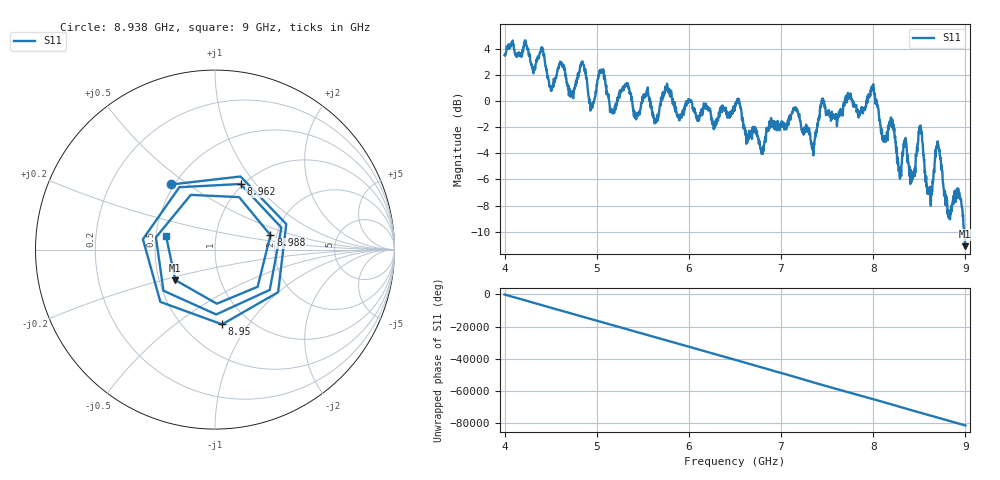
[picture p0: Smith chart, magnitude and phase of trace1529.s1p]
! Created with skrf 1.8.0 (http://scikit-rf.org).
# Hz S RI R 50.0
!freq ReS11 ImS11
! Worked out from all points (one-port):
!   1601 points, 4 GHz to 9 GHz, reference 50 ohm
!   lowest |S11| = -11.1 dB at 8.997 GHz (marker M1), VSWR 1.77, Z = 30.3 - j11.2 ohm
!   |S11| at or under -10 dB: 8.990189 GHz to end of sweep
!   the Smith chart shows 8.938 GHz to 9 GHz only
!   S11 on the Smith chart (normalised r, x): 8.938 GHz: 0.48, +0.43; 8.95 GHz: 0.75, -0.76; 8.962 GHz: 0.97, +0.84; 8.988 GHz: 1.86, +0.33; 9 GHz: 0.57, +0.09
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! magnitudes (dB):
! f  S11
! 4 GHz  3.5
! 4.625 GHz  2.7
! 4.722 GHz  0.5
! 4.85 GHz  2.8
! 4.944 GHz  -0.5
! 5.05 GHz  2.4
! 5.25 GHz  0.8
! 5.875 GHz  -1.1
! 6.5 GHz  -0.3
! 6.794 GHz  -3.8
! 7.125 GHz  -0.9
! 7.344 GHz  -3.8
! 7.447 GHz  0.1
! 7.75 GHz  0.2
! 7.997 GHz  1.2
! 8.284 GHz  -5.5
! 8.375 GHz  -4.1
! 8.434 GHz  -5.7
! 8.512 GHz  -1.9
! 8.603 GHz  -7.0
! 8.697 GHz  -3.2
! 8.816 GHz  -8.9
! 8.938 GHz  -7.2
! 8.95 GHz  -7.6
! 8.962 GHz  -8.1
! 8.988 GHz  -9.9
! 8.997 GHz  -11.1
! 9 GHz  -11.0
